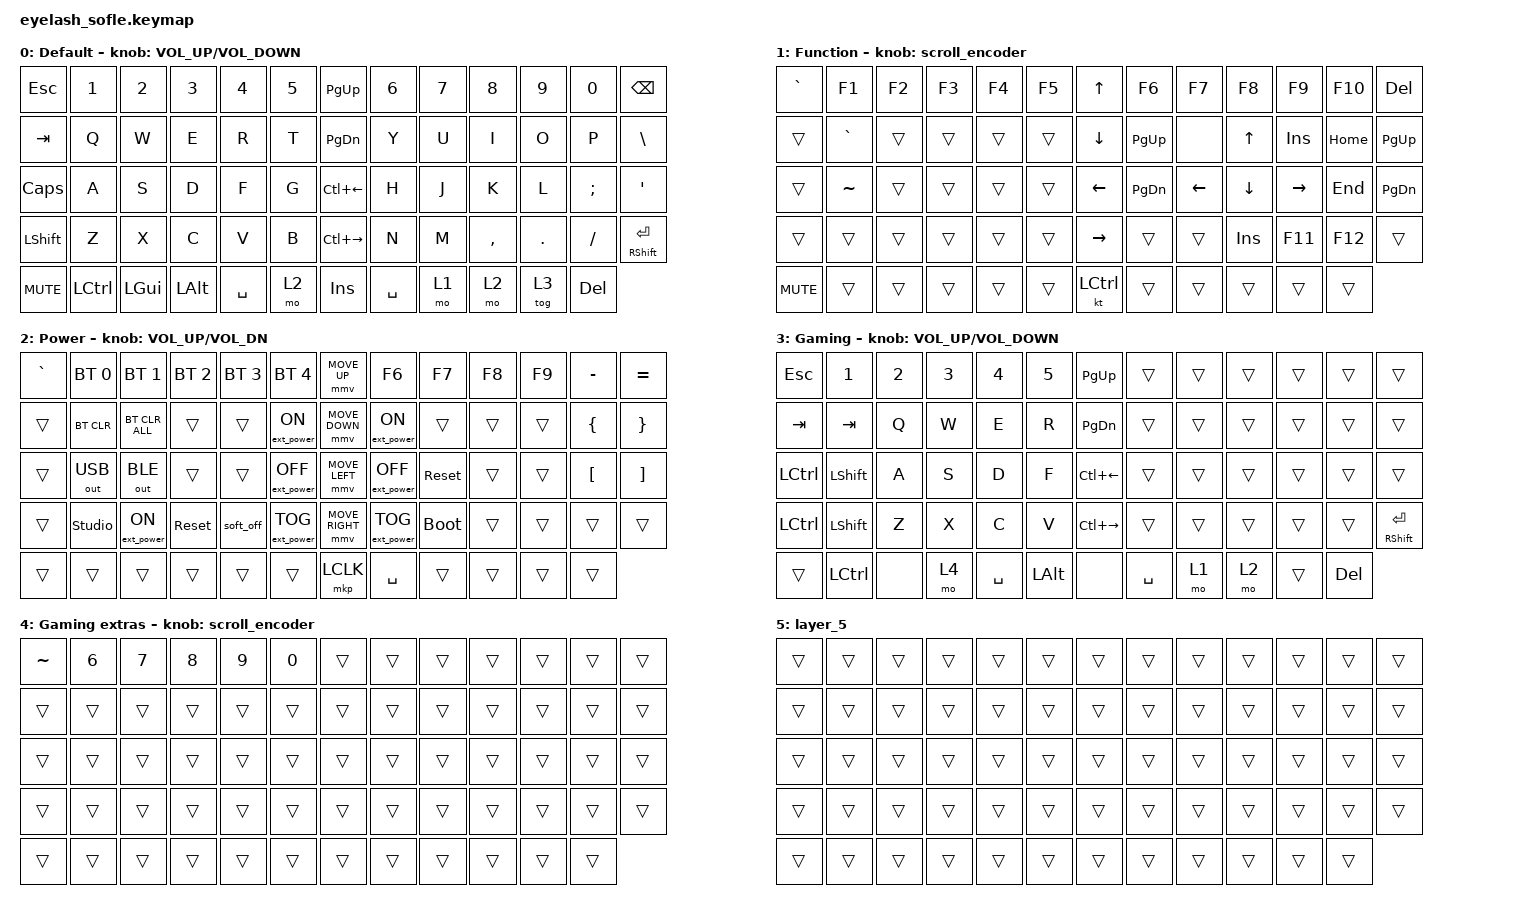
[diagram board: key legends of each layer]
#define ZMK_POINTING_DEFAULT_MOVE_VAL 1200  // 600
#define ZMK_POINTING_DEFAULT_SCRL_VAL 25   // 10

#include <input/processors.dtsi>
#include <zephyr/dt-bindings/input/input-event-codes.h>
#include <behaviors.dtsi>
#include <dt-bindings/zmk/bt.h>
#include <dt-bindings/zmk/ext_power.h>
#include <dt-bindings/zmk/keys.h>
#include <dt-bindings/zmk/outputs.h>
#include <dt-bindings/zmk/pointing.h>

// #include <dt-bindings/zmk/rgb.h>

&mmv_input_listener { input-processors = <&zip_xy_scaler 2 1>; };

&msc_input_listener { input-processors = <&zip_scroll_scaler 2 1>; };

&msc {
    acceleration-exponent = <1>;      // 0
    time-to-max-speed-ms = <100>;       // 300
    delay-ms = <0>;                   // 0
};

&mmv {
    time-to-max-speed-ms = <500>;
    acceleration-exponent = <1>;
    trigger-period-ms = <16>;
};

&soft_off { hold-time-ms = <2000>; };

/ {
    scroll_encoder: scroll_encoder {
        compatible = "zmk,behavior-sensor-rotate";
        #sensor-binding-cells = <0>;
        bindings = <&msc SCRL_DOWN>, <&msc SCRL_UP>;

        tap-ms = <100>;
    };

    behaviors {
    };

    combos {
        compatible = "zmk,combos";

        underscore {
            bindings = <&kp MINUS>;
            key-positions = <39 56 11>;
        };

        plus {
            bindings = <&kp PLUS>;
            key-positions = <39 56 12>;
        };
    };

    macros {
        SHIFT_MCLK: SHIFT_MCLK {
            compatible = "zmk,behavior-macro";
            #binding-cells = <0>;
            bindings =
                <&macro_press>,
                <&kp LEFT_SHIFT>,
                <&macro_press>,
                <&mkp MB3>,
                <&macro_pause_for_release>,
                <&macro_release>,
                <&kp LEFT_SHIFT &mkp MB3>;

            label = "SHIFT_MCLK";
        };
    };

    keymap {
        compatible = "zmk,keymap";

        layer0 {
            bindings = <
&kp ESC     &kp N1     &kp N2        &kp N3        &kp N4     &kp N5    &kp PAGE_UP    &kp N6     &kp N7  &kp N8     &kp N9   &kp N0      &kp BACKSPACE
&kp TAB     &kp Q      &kp W         &kp E         &kp R      &kp T     &kp PG_DN      &kp Y      &kp U   &kp I      &kp O    &kp P       &kp BSLH
&kp CAPS    &kp A      &kp S         &kp D         &kp F      &kp G     &kp LC(LEFT)   &kp H      &kp J   &kp K      &kp L    &kp SEMI    &kp APOS
&kp LSHFT   &kp Z      &kp X         &kp C         &kp V      &kp B     &kp LC(RIGHT)  &kp N      &kp M   &kp COMMA  &kp DOT  &kp FSLH    &mt RIGHT_SHIFT ENTER
&kp C_MUTE  &kp LCTRL  &kp LEFT_GUI  &kp LEFT_ALT  &kp SPACE  &mo 2     &kp INS        &kp SPACE  &mo 1   &mo 2      &tog 3   &kp DELETE
            >;

            sensor-bindings = <&inc_dec_kp C_VOLUME_UP C_VOLUME_DOWN>;
            display-name = "Default";
        };

        layer_1 {
            bindings = <
&kp GRAVE   &kp F1     &kp F2  &kp F3  &kp F4  &kp F5    &kp UP_ARROW    &kp F6     &kp F7    &kp F8      &kp F9     &kp F10   &kp DEL
&trans      &kp GRAVE  &trans  &trans  &trans  &trans    &kp DOWN_ARROW  &kp PG_UP  &none     &kp UP      &kp INS    &kp HOME  &kp PG_UP
&trans      &kp TILDE  &trans  &trans  &trans  &trans    &kp LEFT        &kp PG_DN  &kp LEFT  &kp DOWN    &kp RIGHT  &kp END   &kp PG_DN
&trans      &trans     &trans  &trans  &trans  &trans    &kp RIGHT       &trans     &trans    &kp INSERT  &kp F11    &kp F12   &trans
&kp C_MUTE  &trans     &trans  &trans  &trans  &trans    &kt LCTRL       &trans     &trans    &trans      &trans     &trans
            >;

            display-name = "Function";
            sensor-bindings = <&scroll_encoder>;
        };

        layer_2 {
            bindings = <
&kp GRAVE  &bt BT_SEL 0    &bt BT_SEL 1      &bt BT_SEL 2  &bt BT_SEL 3  &bt BT_SEL 4         &mmv MOVE_UP     &kp F6             &kp F7       &kp F8  &kp F9  &kp MINUS         &kp EQUAL
&trans     &bt BT_CLR      &bt BT_CLR_ALL    &trans        &trans        &ext_power EP_ON     &mmv MOVE_DOWN   &ext_power EP_ON   &trans       &trans  &trans  &kp LEFT_BRACE    &kp RIGHT_BRACE
&trans     &out OUT_USB    &out OUT_BLE      &trans        &trans        &ext_power EP_OFF    &mmv MOVE_LEFT   &ext_power EP_OFF  &sys_reset   &trans  &trans  &kp LEFT_BRACKET  &kp RIGHT_BRACKET
&trans     &studio_unlock  &ext_power EP_ON  &sys_reset    &soft_off     &ext_power EP_TOG    &mmv MOVE_RIGHT  &ext_power EP_TOG  &bootloader  &trans  &trans  &trans            &trans
&trans     &trans          &trans            &trans        &trans        &trans               &mkp LCLK        &kp SPACE          &trans       &trans  &trans  &trans
            >;

            display-name = "Power";
            sensor-bindings = <&inc_dec_kp C_VOLUME_UP C_VOL_DN>;
        };

        layer_3 {
            bindings = <
&kp ESC    &kp N1          &kp N2  &kp N3  &kp N4     &kp N5      &kp PAGE_UP    &trans     &trans  &trans  &trans  &trans      &trans
&kp TAB    &kp TAB         &kp Q   &kp W   &kp E      &kp R       &kp PG_DN      &trans     &trans  &trans  &trans  &trans      &trans
&kp LCTRL  &kp LEFT_SHIFT  &kp A   &kp S   &kp D      &kp F       &kp LC(LEFT)   &trans     &trans  &trans  &trans  &trans      &trans
&kp LCTRL  &kp LEFT_SHIFT  &kp Z   &kp X   &kp C      &kp V       &kp LC(RIGHT)  &trans     &trans  &trans  &trans  &trans      &mt RIGHT_SHIFT ENTER
&trans     &kp LCTRL       &none   &mo 4   &kp SPACE  &kp LALT    &none          &kp SPACE  &mo 1   &mo 2   &trans  &kp DELETE
            >;

            sensor-bindings = <&inc_dec_kp C_VOLUME_UP C_VOLUME_DOWN>;
            display-name = "Gaming";
        };

        layer_4 {
            bindings = <
&kp TILDE  &kp N6  &kp N7  &kp N8  &kp N9  &kp N0    &trans  &trans  &trans  &trans  &trans  &trans  &trans
&trans     &trans  &trans  &trans  &trans  &trans    &trans  &trans  &trans  &trans  &trans  &trans  &trans
&trans     &trans  &trans  &trans  &trans  &trans    &trans  &trans  &trans  &trans  &trans  &trans  &trans
&trans     &trans  &trans  &trans  &trans  &trans    &trans  &trans  &trans  &trans  &trans  &trans  &trans
&trans     &trans  &trans  &trans  &trans  &trans    &trans  &trans  &trans  &trans  &trans  &trans
            >;

            display-name = "Gaming extras";
            sensor-bindings = <&scroll_encoder>;
        };

        layer_5 {
            bindings = <
&trans  &trans  &trans  &trans  &trans  &trans    &trans  &trans  &trans  &trans  &trans  &trans  &trans
&trans  &trans  &trans  &trans  &trans  &trans    &trans  &trans  &trans  &trans  &trans  &trans  &trans
&trans  &trans  &trans  &trans  &trans  &trans    &trans  &trans  &trans  &trans  &trans  &trans  &trans
&trans  &trans  &trans  &trans  &trans  &trans    &trans  &trans  &trans  &trans  &trans  &trans  &trans
&trans  &trans  &trans  &trans  &trans  &trans    &trans  &trans  &trans  &trans  &trans  &trans
            >;
        };
    };
};
